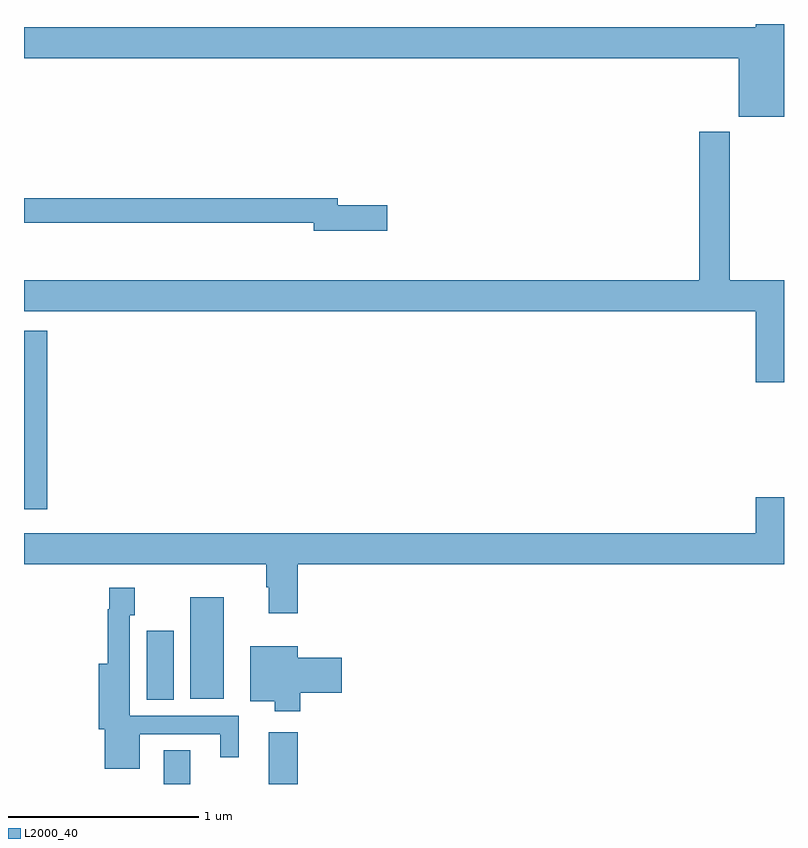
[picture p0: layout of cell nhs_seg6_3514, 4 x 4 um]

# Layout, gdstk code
import gdstk
lib = gdstk.Library(unit=1e-6, precision=1e-09)
def R(c, l, rs):  # rectangles x0, y0, x1, y1
    for r in rs: c.add(gdstk.rectangle(r[:2], r[2:], *l))
def P(c, l, *ps):  # polygons
    for p in ps: c.add(gdstk.Polygon(p, *l))
L2000_40 = (2000, 40)

nhs_seg6_3514 = lib.new_cell('nhs_seg6_3514')
R(nhs_seg6_3514, L2000_40, [(317.735,959.5,317.875,959.678), (318.287,959.5,318.44,959.773), (317.645,959.944,317.788,960.307), (317.876,959.948,318.052,960.484), (317,960.945,317.123,961.885)])
P(nhs_seg6_3514, L2000_40, [(321,963.5),(320.852,963.5),(320.852,963.484),(317,963.484),(317,963.32),(320.762,963.32),(320.762,963.011),(321,963.011)],
  [(321,962.152),(320.715,962.152),(320.715,962.932),(320.555,962.932),(320.555,962.152),(317,962.152),(317,961.988),(320.852,961.988),(320.852,961.614),(321,961.614)],
  [(318.913,962.546),(318.652,962.546),(318.652,962.582),(317,962.582),(317,962.454),(318.524,962.454),(318.524,962.411),(318.913,962.411)],
  [(318.44,960.656),(321,960.656),(321,961.009),(320.852,961.009),(320.852,960.82),(317,960.82),(317,960.656),(318.275,960.656),(318.275,960.536),(318.287,960.536),(318.287,960.399),(318.44,960.399)],
  [(317.608,959.763),(318.032,959.763),(318.032,959.64),(318.13,959.64),(318.13,959.859),(317.556,959.859),(317.556,960.387),(317.583,960.387),(317.583,960.532),(317.448,960.532),(317.448,960.419),(317.44,960.419),(317.44,960.133),(317.393,960.133),(317.393,959.789),(317.426,959.789),(317.426,959.579),(317.608,959.579)],
  [(318.455,959.981),(318.673,959.981),(318.673,960.164),(318.442,960.164),(318.442,960.226),(318.191,960.226),(318.191,959.936),(318.32,959.936),(318.32,959.882),(318.455,959.882)])

lib.write_gds('nhs_seg6_3514.gds')
